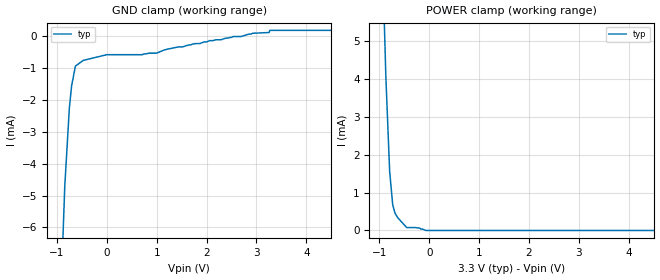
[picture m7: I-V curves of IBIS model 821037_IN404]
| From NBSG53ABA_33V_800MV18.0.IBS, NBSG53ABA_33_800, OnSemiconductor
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| COPYRIGHT(C) MENTOR GRAPHICS CORPORATION 2002 ALL
| RIGHTS RESERVED. THIS WORK CONTAINS PROPRIETARY
| INFORMATION WHICH IS THE PROPERTY OF MENTOR GRAPHICS
| CORPORATION OR ITS LICENSORS. USE OF THESE MATERIALS
| IS SUBJECT TO THE TERMS BELOW.
| USE: MENTOR GRAPHICS HAS LICENSED IBIS MODELS TO
| SPECIFIC INTEGRATED CIRCUIT SUPPLIERS ("IC VENDORS")
| FOR USE AND DISTRIBUTION AS FOLLOWS: EACH IC VENDOR
| MAY USE IBIS MODELS, AND DISTRIBUTE THEM TO IC VENDOR'S
| CUSTOMERS TO USE, SOLELY FOR DEVELOPING PRINTED
| CIRCUIT BOARD DESIGNS. NO OTHER USE OR DISTRIBUTION
| OF THESE MATERIALS IS PERMITTED.
| Model Application Version 1.89 2/18/99.
[Model] 821037_IN404
Model_type Input
Vinl = 600.0mV
Vinh = 1.400V
C_comp 500.0fF NA NA
| variable typ   min   max
[Voltage Range] 3.300V NA NA
[GND Clamp Reference] 0.000V NA NA
[POWER Clamp Reference] 3.300V NA NA
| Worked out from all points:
|   GND clamp passes 1 mA (typ) near -0.64 V on its own axis
|   POWER clamp passes 1 mA (typ) near -0.76 V on its own axis
[GND Clamp]
-3.3V     -112mA     NA         NA
-841.4mV  -4.695mA   NA         NA
-749.9mV  -2.253mA   NA         NA
-704.7mV  -1.553mA   NA         NA
-628.5mV  -937.2uA   NA         NA
-471.4mV  -757.1uA   NA         NA
368.8uV   -578.7uA   NA         NA
998.4mV   -530.6uA   NA         NA
2.057V    -138uA     NA         NA
3.253V    117.9uA    NA         NA
3.269V    185.3uA    NA         NA
6.6V      185.3uA    NA         NA
[POWER Clamp]
-3.3V     116.1mA    NA         NA
-870.2mV  4.059mA    NA         NA
-794.1mV  1.559mA    NA         NA
-733.2mV  682.4uA    NA         NA
-687.8mV  459.4uA    NA         NA
-632.1mV  337.7uA    NA         NA
-452.3mV  76.91uA    NA         NA
-196.3mV  66.24uA    NA         NA
-67.85mV  0A         NA         NA
6.6V      0A         NA         NA
